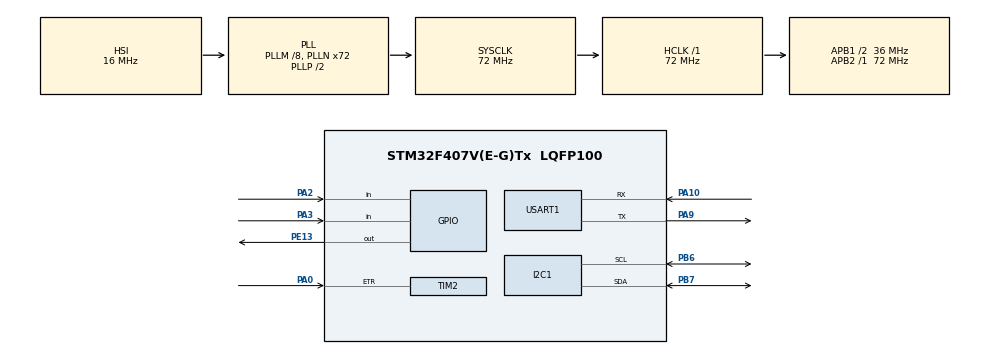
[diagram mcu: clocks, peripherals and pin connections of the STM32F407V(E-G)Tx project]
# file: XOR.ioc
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Dma.Request0=USART1_RX
Dma.Request1=USART1_TX
Dma.USART1_RX.0.Direction=DMA_PERIPH_TO_MEMORY
Dma.USART1_RX.0.FIFOMode=DMA_FIFOMODE_DISABLE
Dma.USART1_RX.0.Instance=DMA2_Stream2
Dma.USART1_RX.0.MemDataAlignment=DMA_MDATAALIGN_BYTE
Dma.USART1_RX.0.MemInc=DMA_MINC_ENABLE
Dma.USART1_RX.0.Mode=DMA_NORMAL
Dma.USART1_RX.0.PeriphDataAlignment=DMA_PDATAALIGN_BYTE
Dma.USART1_RX.0.PeriphInc=DMA_PINC_DISABLE
Dma.USART1_RX.0.Priority=DMA_PRIORITY_LOW
Dma.USART1_TX.1.Direction=DMA_MEMORY_TO_PERIPH
Dma.USART1_TX.1.FIFOMode=DMA_FIFOMODE_DISABLE
Dma.USART1_TX.1.Instance=DMA2_Stream7
Dma.USART1_TX.1.MemDataAlignment=DMA_MDATAALIGN_BYTE
Dma.USART1_TX.1.MemInc=DMA_MINC_ENABLE
Dma.USART1_TX.1.Mode=DMA_NORMAL
Dma.USART1_TX.1.PeriphDataAlignment=DMA_PDATAALIGN_BYTE
Dma.USART1_TX.1.PeriphInc=DMA_PINC_DISABLE
Dma.USART1_TX.1.Priority=DMA_PRIORITY_LOW
Mcu.Family=STM32F4
Mcu.Name=STM32F407V(E-G)Tx
Mcu.Package=LQFP100
NVIC.DMA2_Stream2_IRQn=true\:0\:0\:false\:false\:true\:false\:true\:true
NVIC.DMA2_Stream7_IRQn=true\:0\:0\:false\:false\:true\:false\:true\:true
NVIC.PriorityGroup=NVIC_PRIORITYGROUP_4
NVIC.TIM2_IRQn=true\:0\:0\:false\:false\:true\:true\:true\:true
PA0-WKUP.Signal=S_TIM2_CH1_ETR
PA10.Mode=Asynchronous
PA10.Signal=USART1_RX
PA13.Mode=Serial_Wire
PA13.Signal=SYS_JTMS-SWDIO
PA14.Mode=Serial_Wire
PA14.Signal=SYS_JTCK-SWCLK
PA2.Signal=GPIO_Input
PA3.Signal=GPIO_Input
PA9.Mode=Asynchronous
PA9.Signal=USART1_TX
PB6.Mode=I2C
PB6.Signal=I2C1_SCL
PB7.Mode=I2C
PB7.Signal=I2C1_SDA
PE13.Signal=GPIO_Output
ProjectManager.HeapSize=0x1200
ProjectManager.StackSize=0x600
ProjectManager.TargetToolchain=MDK-ARM V5.32
RCC.48MHZClocksFreq_Value=36000000
RCC.AHBFreq_Value=72000000
RCC.APB1CLKDivider=RCC_HCLK_DIV2
RCC.APB1Freq_Value=36000000
RCC.APB1TimFreq_Value=72000000
RCC.APB2Freq_Value=72000000
RCC.APB2TimFreq_Value=72000000
RCC.CortexFreq_Value=72000000
RCC.HCLKFreq_Value=72000000
RCC.HSE_VALUE=25000000
RCC.HSI_VALUE=16000000
RCC.LSE_VALUE=32768
RCC.PLLM=8
RCC.PLLN=72
RCC.SYSCLKFreq_VALUE=72000000
RCC.SYSCLKSource=RCC_SYSCLKSOURCE_PLLCLK
RCC.VCOOutputFreq_Value=144000000
SH.S_TIM2_CH1_ETR.0=TIM2_ETR,TriggerSource_ETR
TIM2.Period=10000-1
TIM2.Prescaler=7200-1
USART1.VirtualMode=VM_ASYNC
VP_TIM2_VS_ControllerModeClock.Mode=Clock Mode
board=custom

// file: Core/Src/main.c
/* USER CODE BEGIN Header */
/**
  ******************************************************************************
  * @file           : main.c
  * @brief          : Main program body
  ******************************************************************************
  * @attention
  *
  * Copyright (c) 2023 STMicroelectronics.
  * All rights reserved.
  *
  * This software is licensed under terms that can be found in the LICENSE file
  * in the root directory of this software component.
  * If no LICENSE file comes with this software, it is provided AS-IS.
  *
  ******************************************************************************
  */
/* USER CODE END Header */
#include "main.h"
#include "dma.h"
#include "i2c.h"
#include "tim.h"
#include "usart.h"
#include "gpio.h"

/* USER CODE BEGIN Includes */

#include "XOR_Model.h"
#include "AT24C256.h"
#include "OLED.h"

/* USER CODE END Includes */

/* USER CODE BEGIN PM */

// 学习率
#define LR 0.001
// 迭代最大轮数
#define EPOCH 5

/* USER CODE END PM */

/* USER CODE BEGIN PV */
xModel *pModel;
/* USER CODE END PV */

void SystemClock_Config(void);

/* USER CODE BEGIN 0 */

void saveModel(xModel **model);
void loadModel(xModel **model);

/* USER CODE END 0 */

int main(void)
{

  /* MCU Configuration--------------------------------------------------------*/

  /* Reset of all peripherals, Initializes the Flash interface and the Systick. */
  HAL_Init();

  /* Configure the system clock */
  SystemClock_Config();

  /* Initialize all configured peripherals */
  MX_GPIO_Init();
  MX_DMA_Init();
  MX_TIM2_Init();
  MX_USART1_UART_Init();
  MX_I2C1_Init();
  /* USER CODE BEGIN 2 */

  OLED_Init();

  OLED_Clear();

  // 训练集，格式满足 input[2k] XOR input[2k+1] = output[2k]
    double input[8] = {0, 0, 0, 1, 1, 1, 1, 0};
    // 1 0 表示 0 (index)，0 1 表示 1
    double output[8] = {1, 0, 0, 1, 1, 0, 0, 1};

    pModel = (xModel *)malloc(sizeof(xModel));
    pvInit(&pModel);

	// 训练 17 次就会内存溢出
    unsigned count = 0;

    do
    {
        // if (count % 200 == 0)
        {
            // 每两百轮训练翻转一次电平
            printf("\r\n\r\nEpoch[%u]\r\n", ++count);
        }

        unsigned i = 0;
        double loss = 0;
        for (; i < 4; ++i)
        {
            pvForward(&pModel, &input[2 * i], 2);
            loss += pvBackward(&pModel, LR * lr_fall(count), &output[2 * i], 2);
        }

        if (pModel->loss_end - pModel->loss == 4)
        {
            *(pModel->loss_end) = loss;
            pModel->loss_end = pModel->loss;
        }
        else
        {
            *(pModel->loss_end) = loss;
            ++(pModel->loss_end);
        }
        // 更新最佳 loss
        if (loss < pModel->best_loss)
        {
            pModel->best_loss = loss;
        }
        pvDisplayWeights(&pModel);

    } while (!pvEarlyStopDetect(&pModel) && count < EPOCH);

	printf("\r\n测试 %.3f XOR %.3f:\r\n",input[2],input[3]);
    pvForward(&pModel, &input[2], 2);
    int ret0 = ulGetResultIndex(&pModel);
    printf("获取结果为: %d\r\n\r\n", ret0);

    printf("测试 %.3f XOR %.3f:\r\n",input[6],input[7]);
    pvForward(&pModel, &input[6], 2);
    int ret1 = ulGetResultIndex(&pModel);
    printf("获取结果为: %d\r\n\r\n", ret1);

    printf("测试 %.3f XOR %.3f:\r\n",input[4],input[5]);
    pvForward(&pModel, &input[4], 2);
    int ret2 = ulGetResultIndex(&pModel);
    printf("获取结果为: %d\r\n\r\n", ret2);

    printf("测试 %.3f XOR %.3f:\r\n",input[0],input[1]);
    pvForward(&pModel, &input[0], 2);
    int ret3 = ulGetResultIndex(&pModel);
    printf("获取结果为: %d\r\n\r\n", ret3);

	double in[2] = {0, 0};

	// 保存模型
	saveModel(&pModel);

	HAL_Delay(100);
	OLED_ShowStr(20,2,(unsigned char*)"Computation", 1);

  /* USER CODE END 2 */

  /* Infinite loop */
  while (1)
  {

    /* USER CODE BEGIN 3 */
	HAL_Delay(100);
	in[0] = HAL_GPIO_ReadPin(GPIOA, GPIO_PIN_2);
	in[1] = HAL_GPIO_ReadPin(GPIOA, GPIO_PIN_3);

	pvForward(&pModel, &in[0], 2);
	int ret = ulGetResultIndex(&pModel);
	if(ret == -1)
		printf("神经网络计算错误");
	else{
		HAL_GPIO_WritePin(GPIOE, GPIO_PIN_13, ret);
		char str[20];
		sprintf(str, "%1d XOR %1d = %1d",(unsigned)in[0], (unsigned)in[1], ret);
		printf("%s\r\n", str);

		OLED_ShowStr(10,4,(unsigned char*)str, 1);
	}
  }

  pvDeInit(&pModel);
  free(pModel);
  /* USER CODE END 3 */
}

void SystemClock_Config(void)
{
  RCC_OscInitTypeDef RCC_OscInitStruct = {0};
  RCC_ClkInitTypeDef RCC_ClkInitStruct = {0};

  /** Configure the main internal regulator output voltage
  */
  __HAL_RCC_PWR_CLK_ENABLE();
  __HAL_PWR_VOLTAGESCALING_CONFIG(PWR_REGULATOR_VOLTAGE_SCALE1);

  /** Initializes the RCC Oscillators according to the specified parameters
  * in the RCC_OscInitTypeDef structure.
  */
  RCC_OscInitStruct.OscillatorType = RCC_OSCILLATORTYPE_HSI;
  RCC_OscInitStruct.HSIState = RCC_HSI_ON;
  RCC_OscInitStruct.HSICalibrationValue = RCC_HSICALIBRATION_DEFAULT;
  RCC_OscInitStruct.PLL.PLLState = RCC_PLL_ON;
  RCC_OscInitStruct.PLL.PLLSource = RCC_PLLSOURCE_HSI;
  RCC_OscInitStruct.PLL.PLLM = 8;
  RCC_OscInitStruct.PLL.PLLN = 72;
  RCC_OscInitStruct.PLL.PLLP = RCC_PLLP_DIV2;
  RCC_OscInitStruct.PLL.PLLQ = 4;
  if (HAL_RCC_OscConfig(&RCC_OscInitStruct) != HAL_OK)
  {
    Error_Handler();
  }

  /** Initializes the CPU, AHB and APB buses clocks
  */
  RCC_ClkInitStruct.ClockType = RCC_CLOCKTYPE_HCLK|RCC_CLOCKTYPE_SYSCLK
                              |RCC_CLOCKTYPE_PCLK1|RCC_CLOCKTYPE_PCLK2;
  RCC_ClkInitStruct.SYSCLKSource = RCC_SYSCLKSOURCE_PLLCLK;
  RCC_ClkInitStruct.AHBCLKDivider = RCC_SYSCLK_DIV1;
  RCC_ClkInitStruct.APB1CLKDivider = RCC_HCLK_DIV2;
  RCC_ClkInitStruct.APB2CLKDivider = RCC_HCLK_DIV1;

  if (HAL_RCC_ClockConfig(&RCC_ClkInitStruct, FLASH_LATENCY_2) != HAL_OK)
  {
    Error_Handler();
  }
}

/* USER CODE BEGIN 4 */

void saveModel(xModel **model){
	// 写入数据格式 W11,W12,W21,W22,B1,B2,W11',W12',W21',W22',B1',B2'，写入到地址 0x00
	double_data_t *temp = (double_data_t*)malloc(sizeof(double_data_t));
	xModel *pTemp = *model;

	// 使用共用体指针批量存储
	temp->data = pTemp->W1[0];
	WriteAT24C256(0x00,temp->byte,8);
	HAL_Delay(100);
	temp->data = pTemp->W1[1];
	WriteAT24C256(0x08,temp->byte,8);
	HAL_Delay(100);
	temp->data = pTemp->W1[2];
	WriteAT24C256(0x10,temp->byte,8);
	HAL_Delay(100);
	temp->data = pTemp->W1[3];
	WriteAT24C256(0x18,temp->byte,8);
	HAL_Delay(100);

	temp->data = pTemp->B1[0];
	WriteAT24C256(0x20,temp->byte,8);
	HAL_Delay(100);
	temp->data = pTemp->B1[1];
	WriteAT24C256(0x28,temp->byte,8);
	HAL_Delay(100);

	temp->data = pTemp->W2[0];
	WriteAT24C256(0x30,temp->byte,8);
	HAL_Delay(100);
	temp->data = pTemp->W2[1];
	WriteAT24C256(0x38,temp->byte,8);
	HAL_Delay(100);
	temp->data = pTemp->W2[2];
	WriteAT24C256(0x40,temp->byte,8);
	HAL_Delay(100);
	temp->data = pTemp->W2[3];
	WriteAT24C256(0x48,temp->byte,8);
	HAL_Delay(100);

	temp->data = pTemp->B2[0];
	WriteAT24C256(0x50,temp->byte,8);
	HAL_Delay(100);
	temp->data = pTemp->B2[1];
	WriteAT24C256(0x58,temp->byte,8);
	HAL_Delay(100);

	free(temp);
}

void loadModel(xModel **model){
	// 读取数据格式 W11,W12,W21,W22,B1,B2,W11',W12',W21',W22',B1',B2'，从地址 0x00 开始读取
	double_data_t *temp = (double_data_t*)malloc(sizeof(double_data_t));
	xModel *pTemp = *model;

	// 使用共用体指针批量存储
	ReadAT24C256(0x00,temp->byte,8);
	pTemp->W1[0] = temp->data;
	HAL_Delay(100);
	ReadAT24C256(0x08,temp->byte,8);
	pTemp->W1[1] = temp->data;
	HAL_Delay(100);
	ReadAT24C256(0x10,temp->byte,8);
	pTemp->W1[2] = temp->data;
	HAL_Delay(100);
	ReadAT24C256(0x18,temp->byte,8);
	pTemp->W1[3] = temp->data;
	HAL_Delay(100);

	ReadAT24C256(0x20,temp->byte,8);
	pTemp->B1[0] = temp->data;
	HAL_Delay(100);
	ReadAT24C256(0x28,temp->byte,8);
	pTemp->B1[1] = temp->data;
	HAL_Delay(100);

	ReadAT24C256(0x30,temp->byte,8);
	pTemp->W2[0] = temp->data;
	HAL_Delay(100);
	ReadAT24C256(0x38,temp->byte,8);
	pTemp->W2[1] = temp->data;
	HAL_Delay(100);
	ReadAT24C256(0x40,temp->byte,8);
	pTemp->W2[2] = temp->data;
	HAL_Delay(100);
	ReadAT24C256(0x48,temp->byte,8);
	pTemp->W2[3] = temp->data;
	HAL_Delay(100);

	ReadAT24C256(0x50,temp->byte,8);
	pTemp->B2[0] = temp->data;
	HAL_Delay(100);
	ReadAT24C256(0x58,temp->byte,8);
	pTemp->B2[1] = temp->data;
	HAL_Delay(100);

	free(temp);
}

/* USER CODE END 4 */

void Error_Handler(void)
{
  __disable_irq();
  while (1)
  {
  }
}
